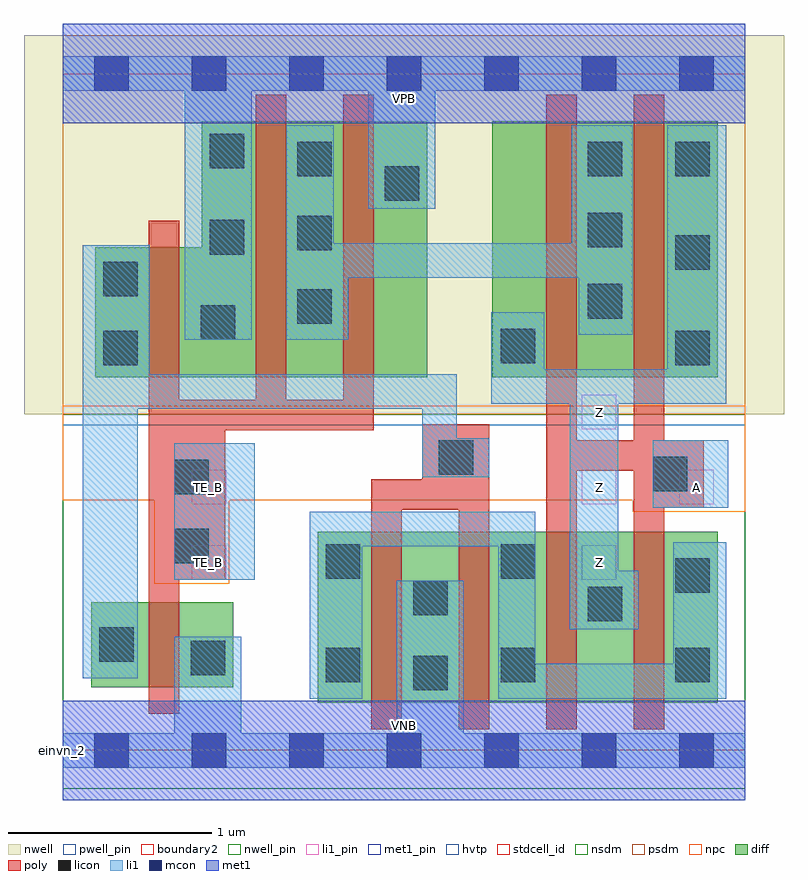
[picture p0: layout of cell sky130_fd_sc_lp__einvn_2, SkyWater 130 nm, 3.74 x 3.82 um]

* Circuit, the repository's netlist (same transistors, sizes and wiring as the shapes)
* Copyright 2020 The SkyWater PDK Authors
*
* Licensed under the Apache License, Version 2.0 (the "License");
* you may not use this file except in compliance with the License.
* You may obtain a copy of the License at
*
*     https://www.apache.org/licenses/LICENSE-2.0
*
* Unless required by applicable law or agreed to in writing, software
* distributed under the License is distributed on an "AS IS" BASIS,
* WITHOUT WARRANTIES OR CONDITIONS OF ANY KIND, either express or implied.
* See the License for the specific language governing permissions and
* limitations under the License.
*
* SPDX-License-Identifier: Apache-2.0

.SUBCKT sky130_fd_sc_lp__einvn_2 A TE_B VGND VNB VPB VPWR Z
*.PININFO A:I TE_B:I VGND:I VNB:I VPB:I VPWR:I Z:O
MMN0 Z A sndA VNB sky130_fd_pr__nfet_01v8 m=2 w=0.84U l=0.15U mult=1 sa=0.265 sb=0.265
+ sd=0.28 area=0.063 perim=1.14
MMN1 sndA TE VGND VNB sky130_fd_pr__nfet_01v8 m=2 w=0.84U l=0.15U mult=1 sa=0.265
+ sb=0.265 sd=0.28 area=0.063 perim=1.14
MMIN1 TE TE_B VGND VNB sky130_fd_pr__nfet_01v8 m=1 w=0.42U l=0.15U mult=1 sa=0.265
+ sb=0.265 sd=0.28 area=0.063 perim=1.14
MMP0 VPWR TE_B sndTEB VPB sky130_fd_pr__pfet_01v8_hvt m=2 w=1.26U l=0.15U mult=1
+ sa=0.265 sb=0.265 sd=0.28 area=0.063 perim=1.14
MMP1 sndTEB A Z VPB sky130_fd_pr__pfet_01v8_hvt m=2 w=1.26U l=0.15U mult=1 sa=0.265
+ sb=0.265 sd=0.28 area=0.063 perim=1.14
MMIP1 TE TE_B VPWR VPB sky130_fd_pr__pfet_01v8_hvt m=1 w=0.64U l=0.15U mult=1 sa=0.265
+ sb=0.265 sd=0.28 area=0.063 perim=1.14
.ENDS sky130_fd_sc_lp__einvn_2

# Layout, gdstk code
import gdstk
lib = gdstk.Library(unit=1e-6, precision=1e-09)
def R(c, l, rs):  # rectangles x0, y0, x1, y1
    for r in rs: c.add(gdstk.rectangle(r[:2], r[2:], *l))
def A(c, l, x, y, w, h, nx, ny, dx, dy):  # array of equal rectangles
    R(c, l, [(x+i*dx, y+j*dy, x+i*dx+w, y+j*dy+h) for i in range(nx) for j in range(ny)])
def P(c, l, *ps):  # polygons
    for p in ps: c.add(gdstk.Polygon(p, *l))
nwell_pin = (64, 16)
nwell = (64, 20)
diff = (65, 20)
poly = (66, 20)
licon = (66, 44)
li1_pin = (67, 16)
li1 = (67, 20)
mcon = (67, 44)
met1_pin = (68, 16)
met1 = (68, 20)
hvtp = (78, 44)
stdcell_id = (81, 4)
nsdm = (93, 44)
psdm = (94, 20)
npc = (95, 20)
pwell_pin = (122, 16)
boundary2 = (236, 0)

sky130_fd_sc_lp__einvn_2 = lib.new_cell('sky130_fd_sc_lp__einvn_2')
R(sky130_fd_sc_lp__einvn_2, nwell_pin, [(0,3.085,3.36,3.33)])
R(sky130_fd_sc_lp__einvn_2, nwell, [(-0.19,1.655,3.55,3.52)])
R(sky130_fd_sc_lp__einvn_2, diff, [(1.255,0.235,3.225,1.075), (0.14,0.31,0.84,0.73), (2.115,1.835,3.225,3.095)])
P(sky130_fd_sc_lp__einvn_2, diff, [(1.795,3.095),(0.685,3.095),(0.685,2.475),(0.16,2.475),(0.16,1.835),(1.795,1.835)])
P(sky130_fd_sc_lp__einvn_2, poly, [(1.53,3.225),(1.38,3.225),(1.38,1.725),(1.1,1.725),(1.1,3.225),(0.95,3.225),(0.95,1.725),(0.575,1.725),(0.575,2.605),(0.425,2.605),(0.425,0.18),(0.575,0.18),(0.575,0.84),(0.8,0.84),(0.8,1.575),(1.53,1.575)],
  [(2.1,1.605),(1.77,1.605),(1.77,1.335),(1.52,1.335),(1.52,0.105),(1.67,0.105),(1.67,1.185),(1.95,1.185),(1.95,0.105),(2.1,0.105)],
  [(3.155,1.525),(2.96,1.525),(2.96,3.225),(2.81,3.225),(2.81,1.525),(2.53,1.525),(2.53,3.225),(2.38,3.225),(2.38,0.105),(2.53,0.105),(2.53,1.375),(2.81,1.375),(2.81,0.105),(2.96,0.105),(2.96,1.195),(3.155,1.195)])
A(sky130_fd_sc_lp__einvn_2, licon, 1.295, 0.335, 0.17, 0.17, 3, 1, 0.86, 0)
A(sky130_fd_sc_lp__einvn_2, licon, 2.585, 2.125, 0.17, 0.17, 1, 3, 0, 0.35)
R(sky130_fd_sc_lp__einvn_2, licon, [(1.725,0.295,1.895,0.465), (0.63,0.37,0.8,0.54), (0.18,0.435,0.35,0.605), (2.585,0.635,2.755,0.805), (1.725,0.665,1.895,0.835), (3.015,0.775,3.185,0.945), (1.295,0.845,1.465,1.015), (2.155,0.845,2.325,1.015), (0.55,0.92,0.72,1.09), (0.55,1.26,0.72,1.43), (2.905,1.275,3.075,1.445), (1.85,1.355,2.02,1.525), (0.2,1.895,0.37,2.065), (3.015,1.895,3.185,2.065), (2.155,1.905,2.325,2.075), (0.68,2.02,0.85,2.19), (1.155,2.1,1.325,2.27), (0.2,2.235,0.37,2.405), (3.015,2.365,3.185,2.535), (0.725,2.44,0.895,2.61), (1.155,2.46,1.325,2.63), (1.585,2.705,1.755,2.875), (1.155,2.825,1.325,2.995), (3.015,2.825,3.185,2.995), (0.725,2.865,0.895,3.035)])
A(sky130_fd_sc_lp__einvn_2, li1_pin, 2.555, 0.84, 0.17, 0.17, 1, 3, 0, 0.37)
R(sky130_fd_sc_lp__einvn_2, li1_pin, [(0.635,0.84,0.805,1.01), (0.635,1.21,0.805,1.38), (3.035,1.21,3.205,1.38)])
R(sky130_fd_sc_lp__einvn_2, li1, [(0.55,0.84,0.945,1.51), (2.905,1.195,3.275,1.525)])
P(sky130_fd_sc_lp__einvn_2, li1, [(1.505,2.665),(1.505,3.245),(0.93,3.245),(0.93,2.02),(0.6,2.02),(0.6,3.245),(0,3.245),(0,3.415),(3.36,3.415),(3.36,3.245),(1.835,3.245),(1.835,2.665)],
  [(1.645,0.085),(1.645,0.835),(1.975,0.835),(1.975,0.085),(3.36,0.085),(3.36,-0.085),(0,-0.085),(0,0.085),(0.55,0.085),(0.55,0.56),(0.88,0.56),(0.88,0.085)],
  [(2.37,1.875),(2.975,1.875),(2.975,3.075),(3.265,3.075),(3.265,1.705),(2.735,1.705),(2.735,0.885),(2.835,0.885),(2.835,0.595),(2.495,0.595),(2.495,1.705),(2.11,1.705),(2.11,2.155),(2.37,2.155)],
  [(0.1,2.485),(0.43,2.485),(0.43,1.85),(1.94,1.85),(1.94,1.535),(2.1,1.535),(2.1,1.345),(1.77,1.345),(1.77,1.68),(0.37,1.68),(0.37,0.355),(0.1,0.355)],
  [(1.335,2.495),(2.505,2.495),(2.505,3.075),(2.805,3.075),(2.805,2.045),(2.54,2.045),(2.54,2.325),(1.405,2.325),(1.405,2.02),(1.1,2.02),(1.1,3.075),(1.335,3.075)],
  [(2.325,0.425),(3.005,0.425),(3.005,1.025),(3.265,1.025),(3.265,0.255),(2.145,0.255),(2.145,1.005),(1.475,1.005),(1.475,0.255),(1.215,0.255),(1.215,1.175),(2.325,1.175)])
A(sky130_fd_sc_lp__einvn_2, mcon, 0.155, -0.085, 0.17, 0.17, 7, 2, 0.48, 3.33)
R(sky130_fd_sc_lp__einvn_2, met1_pin, [(0,0,3.36,0.245), (0,3.085,3.36,3.33)])
R(sky130_fd_sc_lp__einvn_2, met1, [(0,-0.245,3.36,0.245), (0,3.085,3.36,3.575)])
R(sky130_fd_sc_lp__einvn_2, hvtp, [(0,1.6,3.36,3.33)])
R(sky130_fd_sc_lp__einvn_2, stdcell_id, [(0,0,3.36,3.33)])
R(sky130_fd_sc_lp__einvn_2, nsdm, [(0,-0.19,3.36,1.655)])
R(sky130_fd_sc_lp__einvn_2, psdm, [(0,1.655,3.36,3.52)])
P(sky130_fd_sc_lp__einvn_2, npc, [(3.36,1.695),(0,1.695),(0,1.23),(0.45,1.23),(0.45,0.82),(0.82,0.82),(0.82,1.23),(2.805,1.23),(2.805,1.175),(3.36,1.175)])
R(sky130_fd_sc_lp__einvn_2, pwell_pin, [(0,0,3.36,0.245)])
R(sky130_fd_sc_lp__einvn_2, boundary2, [(0,0,3.36,3.33)])
sky130_fd_sc_lp__einvn_2.add(gdstk.Label('VNB', (1.68,0.123), layer=64, texttype=59))
sky130_fd_sc_lp__einvn_2.add(gdstk.Label('VPB', (1.68,3.208), layer=64, texttype=5))
sky130_fd_sc_lp__einvn_2.add(gdstk.Label('einvn_2', (0,0), layer=83, texttype=44))
sky130_fd_sc_lp__einvn_2.add(gdstk.Label('VPWR', (1.68,3.208), layer=68, texttype=5))
sky130_fd_sc_lp__einvn_2.add(gdstk.Label('VGND', (1.68,0.123), layer=68, texttype=5))
sky130_fd_sc_lp__einvn_2.add(gdstk.Label('TE_B', (0.72,0.925), layer=67, texttype=5))
sky130_fd_sc_lp__einvn_2.add(gdstk.Label('TE_B', (0.72,1.295), layer=67, texttype=5))
sky130_fd_sc_lp__einvn_2.add(gdstk.Label('Z', (2.64,0.925), layer=67, texttype=5))
sky130_fd_sc_lp__einvn_2.add(gdstk.Label('Z', (2.64,1.295), layer=67, texttype=5))
sky130_fd_sc_lp__einvn_2.add(gdstk.Label('Z', (2.64,1.665), layer=67, texttype=5))
sky130_fd_sc_lp__einvn_2.add(gdstk.Label('A', (3.12,1.295), layer=67, texttype=5))

lib.write_gds('sky130_fd_sc_lp__einvn_2.gds')
